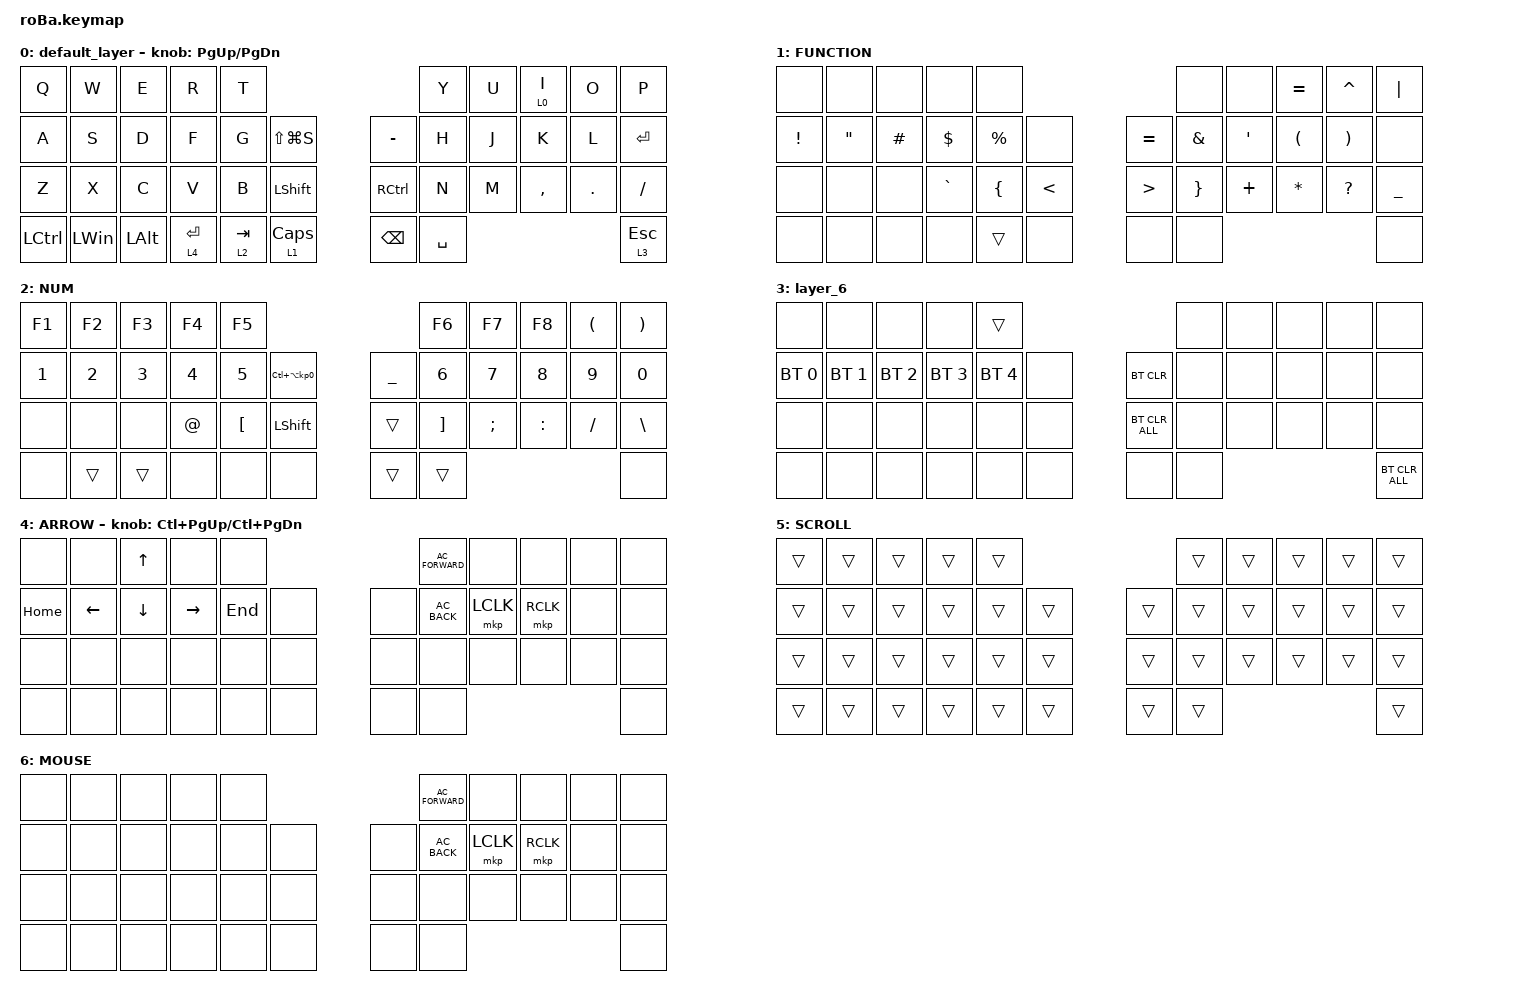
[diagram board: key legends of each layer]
#include <behaviors.dtsi>
#include <dt-bindings/zmk/bt.h>
#include <dt-bindings/zmk/keys.h>
#include <dt-bindings/zmk/pointing.h>

#define MOUSE 4
#define SCROLL 5
#define NUM 6

&mt {
    flavor = "balanced";
    quick-tap-ms = <0>;
};

/ {
    combos {
        compatible = "zmk,combos";

        tab {
            bindings = <&kp TAB>;
            key-positions = <11 12>;
        };

        shift_tab {
            bindings = <&kp LS(TAB)>;
            key-positions = <12 13>;
        };

        muhennkann {
            bindings = <&to_layer_0 INT_MUHENKAN>;
            key-positions = <11 10>;
        };

        double_quotation {
            bindings = <&kp DOUBLE_QUOTES>;
            key-positions = <20 21>;
        };

        eq {
            bindings = <&kp EQUAL>;
            key-positions = <24 25>;
        };
    };

    macros {
        to_layer_0: to_layer_0 {
            compatible = "zmk,behavior-macro-one-param";
            #binding-cells = <1>;
            bindings = <&to 0 &macro_param_1to1 &kp MACRO_PLACEHOLDER>;
            label = "TO_LAYER_0";
        };
    };

    behaviors {
        lt_to_layer_0: lt_to_layer_0 {
            compatible = "zmk,behavior-hold-tap";
            label = "LAYER_TAP_TO_0";
            bindings = <&mo>, <&to_layer_0>;

            #binding-cells = <2>;
            tapping-term-ms = <200>;
        };
    };

    keymap {
        compatible = "zmk,keymap";

        default_layer {
            bindings = <
&kp Q      &kp W         &kp E         &kp R                   &kp T                                                    &kp Y      &kp U  &lt 0 I    &kp O    &kp P
&kp A      &kp S         &kp D         &kp F                   &kp G      &kp LS(LG(S))              &kp MINUS          &kp H      &kp J  &kp K      &kp L    &kp ENTER
&kp Z      &kp X         &kp C         &kp V                   &kp B      &kp LEFT_SHIFT             &kp RIGHT_CONTROL  &kp N      &kp M  &kp COMMA  &kp DOT  &kp SLASH
&kp LCTRL  &kp LEFT_WIN  &kp LEFT_ALT  &lt_to_layer_0 4 ENTER  &lt 2 TAB  &lt_to_layer_0 1 CAPS      &kp BACKSPACE      &kp SPACE                             &lt_to_layer_0 3 ESC
            >;

            sensor-bindings = <&inc_dec_kp PG_UP PAGE_DOWN>;
        };

        FUNCTION {
            bindings = <
&none            &none              &none     &none       &none                                                &none            &none     &kp EQUAL             &kp CARET              &kp PIPE
&kp EXCLAMATION  &kp DOUBLE_QUOTES  &kp HASH  &kp DOLLAR  &kp PERCENT     &none              &kp EQUAL         &kp AMPERSAND    &kp SQT   &kp LEFT_PARENTHESIS  &kp RIGHT_PARENTHESIS  &none
&none            &none              &none     &kp GRAVE   &kp LEFT_BRACE  &kp LESS_THAN      &kp GREATER_THAN  &kp RIGHT_BRACE  &kp PLUS  &kp ASTRK             &kp QUESTION           &kp UNDERSCORE
&none            &none              &none     &none       &trans          &none              &none             &none                                                                   &none
            >;
        };

        NUM {
            bindings = <
&kp F1  &kp F2  &kp F3        &kp F4        &kp F5                                                         &kp F6             &kp F7         &kp F8        &kp LEFT_PARENTHESIS  &kp RIGHT_PARENTHESIS
&kp N1  &kp N2  &kp NUMBER_3  &kp NUMBER_4  &kp NUMBER_5      &kp LC(LA(KP_NUMBER_0))      &kp UNDERSCORE  &kp NUMBER_6       &kp NUMBER_7   &kp NUMBER_8  &kp NUMBER_9          &kp NUMBER_0
&none   &none   &none         &kp AT_SIGN   &kp LEFT_BRACKET  &kp LEFT_SHIFT               &trans          &kp RIGHT_BRACKET  &kp SEMICOLON  &kp COLON     &kp SLASH             &kp BACKSLASH
&none   &trans  &trans        &none         &none             &none                        &trans          &trans                                                                &none
            >;
        };

        layer_6 {
            bindings = <
&none         &none         &none         &none         &trans                                   &none  &none  &none  &none  &none
&bt BT_SEL 0  &bt BT_SEL 1  &bt BT_SEL 2  &bt BT_SEL 3  &bt BT_SEL 4  &none      &bt BT_CLR      &none  &none  &none  &none  &none
&none         &none         &none         &none         &none         &none      &bt BT_CLR_ALL  &none  &none  &none  &none  &none
&none         &none         &none         &none         &none         &none      &none           &none                       &bt BT_CLR_ALL
            >;
        };

        ARROW {
            bindings = <
&none     &none           &kp UP_ARROW    &none            &none                      &kp C_AC_FORWARD  &none      &none      &none  &none
&kp HOME  &kp LEFT_ARROW  &kp DOWN_ARROW  &kp RIGHT_ARROW  &kp END  &none      &none  &kp C_AC_BACK     &mkp LCLK  &mkp RCLK  &none  &none
&none     &none           &none           &none            &none    &none      &none  &none             &none      &none      &none  &none
&none     &none           &none           &none            &none    &none      &none  &none                                          &none
            >;

            sensor-bindings = <&inc_dec_kp LC(PAGE_UP) LC(PAGE_DOWN)>;
        };

        SCROLL {
            bindings = <
&trans  &trans  &trans  &trans  &trans                      &trans  &trans  &trans  &trans  &trans
&trans  &trans  &trans  &trans  &trans  &trans      &trans  &trans  &trans  &trans  &trans  &trans
&trans  &trans  &trans  &trans  &trans  &trans      &trans  &trans  &trans  &trans  &trans  &trans
&trans  &trans  &trans  &trans  &trans  &trans      &trans  &trans                          &trans
            >;
        };

        MOUSE {
            bindings = <
&none  &none  &none  &none  &none                    &kp C_AC_FORWARD  &none      &none      &none  &none
&none  &none  &none  &none  &none  &none      &none  &kp C_AC_BACK     &mkp LCLK  &mkp RCLK  &none  &none
&none  &none  &none  &none  &none  &none      &none  &none             &none      &none      &none  &none
&none  &none  &none  &none  &none  &none      &none  &none                                          &none
            >;
        };
    };
};
